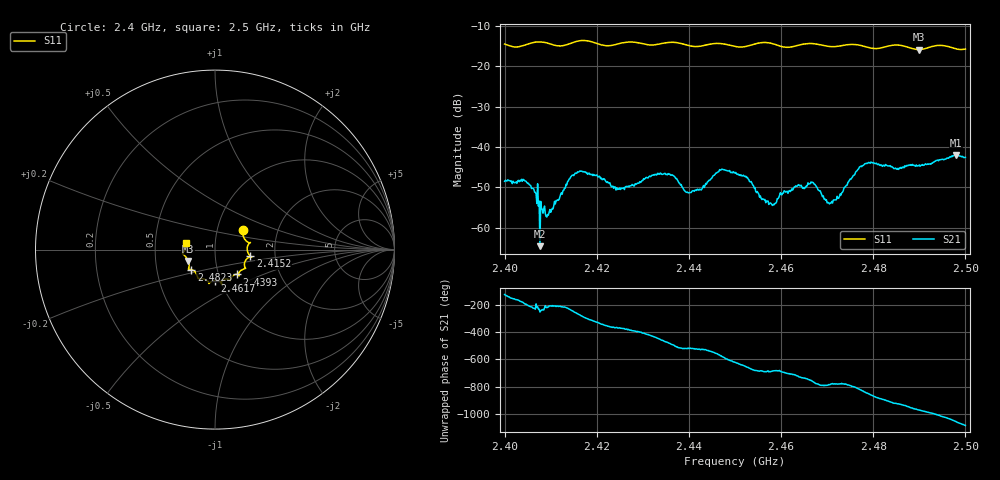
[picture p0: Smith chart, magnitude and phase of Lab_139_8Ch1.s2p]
# Hz S RI R 50
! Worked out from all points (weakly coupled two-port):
!   601 points, 2.4 GHz to 2.5 GHz, reference 50 ohm
!   highest |S21| = -42.02 dB at 2.498 GHz (marker M1); lowest = -64.6 dB at 2.4077 GHz (marker M2)
!   lowest |S11| = -15.8 dB at 2.4898 GHz (marker M3), VSWR 1.38, Z = 36.8 - j4.78 ohm
!   |S11| at or under -10 dB: start of sweep to end of sweep
!   S12 and S22 are empty: the file has one direction only
!   S11 on the Smith chart (normalised r, x): 2.4 GHz: 1.33, +0.30; 2.4152 GHz: 1.49, -0.11; 2.4393 GHz: 1.23, -0.35; 2.4617 GHz: 0.94, -0.33; 2.4823 GHz: 0.75, -0.17; 2.5 GHz: 0.72, +0.05
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2.4e9  0.1549 0.1087  -0.00214 -0.00309  0 0  0 0
2.404667e9  0.1808 0.0424  -0.00362 0.00097  0 0  0 0
2.407667e9  0.1971 0.0396  -0.000173 0.000564  0 0  0 0
2.4095e9  0.1896 0.0339  -0.00115 0.000849  0 0  0 0
2.415167e9  0.197 -0.0366  -0.00121 0.00441  0 0  0 0
2.416667e9  0.2048 -0.042  0.000953 0.00494  0 0  0 0
2.424667e9  0.165 -0.0943  0.00297 -0.000573  0 0  0 0
2.433333e9  0.132 -0.1339  0.000187 -0.00461  0 0  0 0
2.436833e9  0.1342 -0.1461  -0.00324 -0.00287  0 0  0 0
2.439333e9  0.1229 -0.1382  -0.00259 -0.000977  0 0  0 0
2.447e9  0.0841 -0.1719  -0.00433 0.0029  0 0  0 0
2.45e9  0.066 -0.1637  -0.000676 0.00472  0 0  0 0
2.457833e9  0.038 -0.1896  0.0017 0.00105  0 0  0 0
2.461667e9  0.000313 -0.1723  0.00275 0.000662  0 0  0 0
2.466667e9  -0.0336 -0.1888  0.00284 -0.00224  0 0  0 0
2.470667e9  -0.0528 -0.1678  0.000866 -0.00182  0 0  0 0
2.4775e9  -0.097 -0.1522  -0.00178 -0.00543  0 0  0 0
2.482333e9  -0.1322 -0.1112  -0.00588 -0.000461  0 0  0 0
2.483333e9  -0.1409 -0.1098  -0.00578 0.000804  0 0  0 0
2.489833e9  -0.1485 -0.0632  -0.00193 0.00554  0 0  0 0
2.498e9  -0.1647 0.00307  0.00731 0.00306  0 0  0 0
2.5e9  -0.1599 0.0363  0.00741 -0.000656  0 0  0 0
